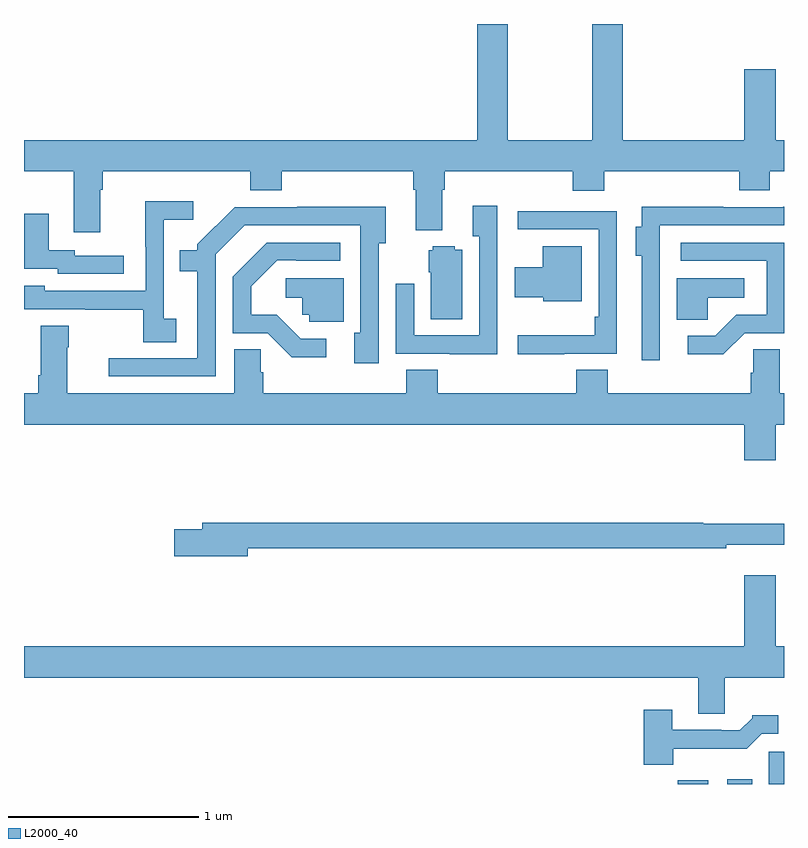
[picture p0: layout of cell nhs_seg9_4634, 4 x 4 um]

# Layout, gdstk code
import gdstk
lib = gdstk.Library(unit=1e-6, precision=1e-09)
def R(c, l, rs):  # rectangles x0, y0, x1, y1
    for r in rs: c.add(gdstk.rectangle(r[:2], r[2:], *l))
def P(c, l, *ps):  # polygons
    for p in ps: c.add(gdstk.Polygon(p, *l))
L2000_40 = (2000, 40)

nhs_seg9_4634 = lib.new_cell('nhs_seg9_4634')
R(nhs_seg9_4634, L2000_40, [(380.44,1222.5,380.602,1222.519), (380.702,1222.5,380.833,1222.525), (380.921,1222.5,381,1222.671)])
P(nhs_seg9_4634, L2000_40, [(377.401,1225.628),(377.414,1225.628),(377.414,1225.724),(378.191,1225.724),(378.191,1225.625),(378.356,1225.625),(378.356,1225.724),(379.049,1225.724),(379.049,1225.628),(379.061,1225.628),(379.061,1225.415),(379.201,1225.415),(379.201,1225.628),(379.214,1225.628),(379.214,1225.724),(379.889,1225.724),(379.889,1225.622),(380.054,1225.622),(380.054,1225.724),(380.765,1225.724),(380.765,1225.625),(380.925,1225.625),(380.925,1225.724),(381,1225.724),(381,1225.888),(380.956,1225.888),(380.956,1226.263),(380.792,1226.263),(380.792,1225.888),(380.15,1225.888),(380.15,1226.5),(379.99,1226.5),(379.99,1225.888),(379.545,1225.888),(379.545,1226.5),(379.385,1226.5),(379.385,1225.888),(377,1225.888),(377,1225.724),(377.261,1225.724),(377.261,1225.404),(377.401,1225.404)],
  [(377.8,1224.948),(377.736,1224.948),(377.736,1225.469),(377.89,1225.469),(377.89,1225.567),(377.638,1225.567),(377.638,1225.328),(377.64,1225.328),(377.64,1225.095),(377.109,1225.095),(377.109,1225.123),(377,1225.123),(377,1224.999),(377.323,1224.999),(377.323,1224.997),(377.628,1224.997),(377.628,1224.826),(377.8,1224.826)],
  [(379.491,1225.543),(379.361,1225.543),(379.361,1225.382),(379.395,1225.382),(379.395,1224.861),(379.053,1224.861),(379.053,1225.132),(378.957,1225.132),(378.957,1224.765),(379.241,1224.765),(379.241,1224.761),(379.491,1224.761)],
  [(380.346,1225.44),(381,1225.44),(381,1225.538),(380.996,1225.538),(380.996,1225.536),(380.681,1225.536),(380.681,1225.538),(380.25,1225.538),(380.25,1225.432),(380.219,1225.432),(380.219,1225.28),(380.25,1225.28),(380.25,1224.729),(380.346,1224.729)],
  [(378.009,1225.287),(378.162,1225.44),(378.771,1225.44),(378.771,1224.874),(378.737,1224.874),(378.737,1224.714),(378.867,1224.714),(378.867,1225.346),(378.904,1225.346),(378.904,1225.538),(378.439,1225.538),(378.439,1225.536),(378.108,1225.536),(377.913,1225.341),(377.913,1225.309),(377.821,1225.309),(377.821,1225.2),(377.912,1225.2),(377.912,1224.741),(377.445,1224.741),(377.445,1224.645),(378.009,1224.645)],
  [(379.843,1224.765),(380.121,1224.765),(380.121,1225.515),(379.599,1225.515),(379.599,1225.419),(380.025,1225.419),(380.025,1224.958),(380.005,1224.958),(380.005,1224.862),(379.599,1224.862),(379.599,1224.761),(379.843,1224.761)],
  [(377.524,1225.281),(377.268,1225.281),(377.268,1225.308),(377.131,1225.308),(377.131,1225.501),(377,1225.501),(377,1225.212),(377.178,1225.212),(377.178,1225.185),(377.524,1225.185)],
  [(380.793,1224.873),(381,1224.873),(381,1225.35),(380.457,1225.35),(380.457,1225.254),(380.91,1225.254),(380.91,1224.969),(380.748,1224.969),(380.637,1224.858),(380.493,1224.858),(380.493,1224.761),(380.68,1224.761)],
  [(378.592,1224.843),(378.456,1224.843),(378.329,1224.97),(378.196,1224.97),(378.196,1225.12),(378.333,1225.257),(378.433,1225.257),(378.433,1225.254),(378.664,1225.254),(378.664,1225.35),(378.278,1225.35),(378.099,1225.171),(378.099,1224.873),(378.282,1224.873),(378.41,1224.746),(378.592,1224.746)],
  [(379.306,1225.312),(379.266,1225.312),(379.266,1225.33),(379.152,1225.33),(379.152,1225.308),(379.13,1225.308),(379.13,1225.194),(379.142,1225.194),(379.142,1224.946),(379.306,1224.946)],
  [(379.936,1225.33),(379.73,1225.33),(379.73,1225.219),(379.584,1225.219),(379.584,1225.061),(379.734,1225.061),(379.734,1225.04),(379.936,1225.04)],
  [(380.599,1225.058),(380.791,1225.058),(380.791,1225.162),(380.435,1225.162),(380.435,1224.944),(380.599,1224.944)],
  [(378.682,1225.161),(378.378,1225.161),(378.378,1225.058),(378.465,1225.058),(378.465,1224.969),(378.501,1224.969),(378.501,1224.933),(378.682,1224.933)],
  [(380.956,1224.392),(381,1224.392),(381,1224.556),(380.977,1224.556),(380.977,1224.788),(380.838,1224.788),(380.838,1224.665),(380.825,1224.665),(380.825,1224.556),(380.072,1224.556),(380.072,1224.68),(379.907,1224.68),(379.907,1224.556),(379.178,1224.556),(379.178,1224.68),(379.013,1224.68),(379.013,1224.556),(378.26,1224.556),(378.26,1224.666),(378.245,1224.666),(378.245,1224.788),(378.107,1224.788),(378.107,1224.556),(377.227,1224.556),(377.227,1224.8),(377.235,1224.8),(377.235,1224.913),(377.087,1224.913),(377.087,1224.652),(377.075,1224.652),(377.075,1224.556),(377,1224.556),(377,1224.392),(380.792,1224.392),(380.792,1224.204),(380.956,1224.204)],
  [(378.178,1223.74),(380.696,1223.74),(380.696,1223.759),(381,1223.759),(381,1223.869),(380.576,1223.869),(380.576,1223.876),(377.939,1223.876),(377.939,1223.84),(377.79,1223.84),(377.79,1223.698),(378.178,1223.698)],
  [(380.689,1223.06),(381,1223.06),(381,1223.224),(380.956,1223.224),(380.956,1223.599),(380.792,1223.599),(380.792,1223.224),(377,1223.224),(377,1223.06),(380.549,1223.06),(380.549,1222.87),(380.689,1222.87)],
  [(380.416,1222.686),(380.805,1222.686),(380.883,1222.764),(380.971,1222.764),(380.971,1222.861),(380.832,1222.861),(380.832,1222.846),(380.768,1222.782),(380.669,1222.782),(380.669,1222.785),(380.413,1222.785),(380.413,1222.891),(380.261,1222.891),(380.261,1222.601),(380.416,1222.601)])

lib.write_gds('nhs_seg9_4634.gds')
